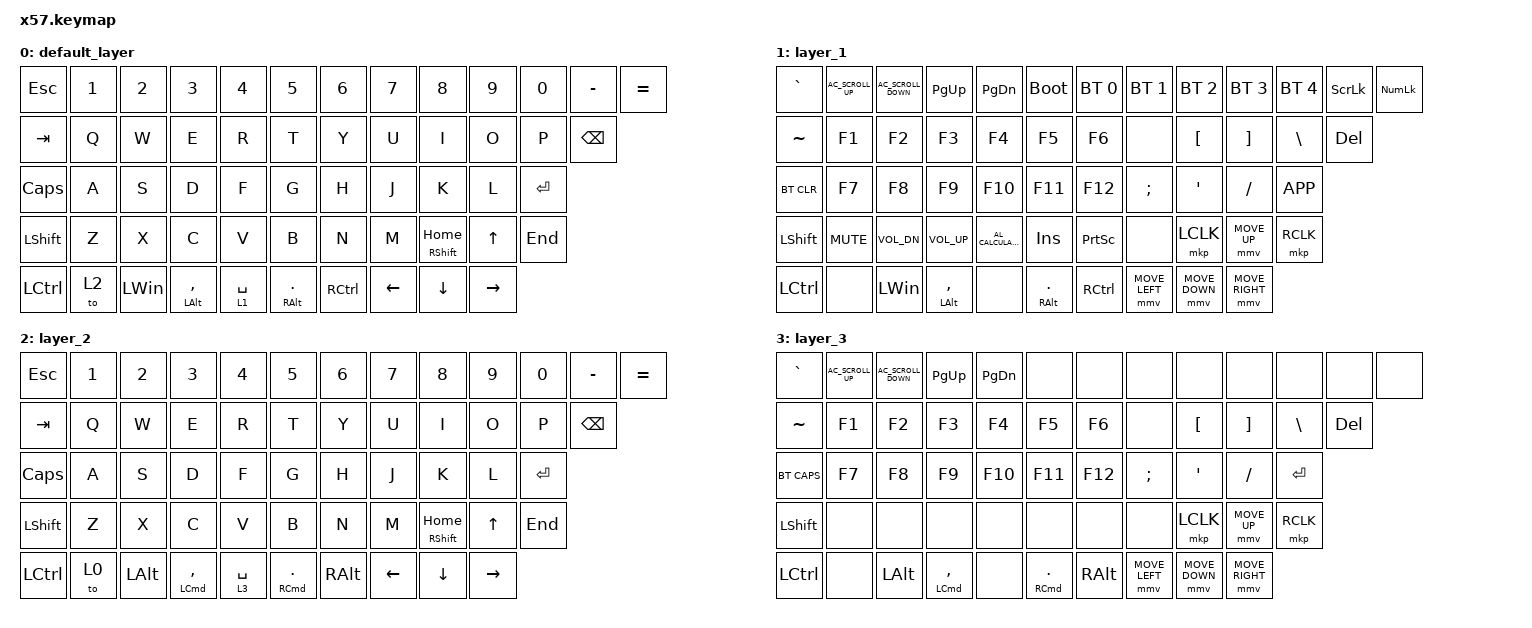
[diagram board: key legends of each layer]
#include <dt-bindings/zmk/mouse.h>
#include <behaviors.dtsi>
#include <dt-bindings/zmk/bt.h>
#include <dt-bindings/zmk/keys.h>
//#include <dt-bindings/zmk/rgb.h>
//#include <dt-bindings/zmk/outputs.h>
//#include <dt-bindings/zmk/ext_power.h>
#include <dt-bindings/zmk/pointing.h>

/ {
    keymap {
        compatible = "zmk,keymap";

        default_layer {
            bindings = <
                &kp ESC    &kp N1  &kp N2    &kp N3          &kp N4       &kp N5        &kp N6     &kp N7    &kp N8          &kp N9     &kp N0     &kp MINUS  &kp EQUAL
                &kp TAB    &kp Q   &kp W     &kp E           &kp R        &kp T         &kp Y      &kp U     &kp I           &kp O      &kp P      &kp BSPC
                &kp CAPS   &kp A   &kp S     &kp D           &kp F        &kp G         &kp H      &kp J     &kp K           &kp L      &kp ENTER
                &kp LSHFT  &kp Z   &kp X     &kp C           &kp V        &kp B         &kp N      &kp M     &mt RSHFT HOME  &kp UP     &kp END
                &kp LCTRL  &to 2   &kp LWIN  &mt LALT COMMA  &lt 1 SPACE  &mt RALT DOT  &kp RCTRL  &kp LEFT  &kp DOWN        &kp RIGHT
            >;
        };

        layer_1 {
            bindings = <
                &kp GRAVE   &kp C_AC_SCROLL_UP  &kp C_AC_SCROLL_DOWN  &kp PG_UP       &kp PG_DN            &bootloader   &bt BT_SEL 0  &bt BT_SEL 1    &bt BT_SEL 2    &bt BT_SEL 3     &bt BT_SEL 4  &kp SCROLLLOCK  &kp KP_NUMLOCK
                &kp TILDE   &kp F1              &kp F2                &kp F3          &kp F4               &kp F5        &kp F6        &none           &kp LBKT        &kp RBKT         &kp BSLH      &kp DEL
                &bt BT_CLR  &kp F7              &kp F8                &kp F9          &kp F10              &kp F11       &kp F12       &kp SEMI        &kp SQT         &kp SLASH        &kp K_APP
                &kp LSHFT   &kp C_MUTE          &kp C_VOL_DN          &kp C_VOL_UP    &kp C_AL_CALCULATOR  &kp INS       &kp PSCRN     &none           &mkp LCLK       &mmv MOVE_UP     &mkp RCLK
                &kp LCTRL   &none               &kp LWIN              &mt LALT COMMA  &none                &mt RALT DOT  &kp RCTRL     &mmv MOVE_LEFT  &mmv MOVE_DOWN  &mmv MOVE_RIGHT
            >;
        };

        layer_2 {
            bindings = <
                &kp ESC    &kp N1  &kp N2    &kp N3          &kp N4       &kp N5        &kp N6     &kp N7    &kp N8          &kp N9     &kp N0     &kp MINUS  &kp EQUAL
                &kp TAB    &kp Q   &kp W     &kp E           &kp R        &kp T         &kp Y      &kp U     &kp I           &kp O      &kp P      &kp BSPC
                &kp CAPS   &kp A   &kp S     &kp D           &kp F        &kp G         &kp H      &kp J     &kp K           &kp L      &kp ENTER
                &kp LSHFT  &kp Z   &kp X     &kp C           &kp V        &kp B         &kp N      &kp M     &mt RSHFT HOME  &kp UP     &kp END
                &kp LCTRL  &to 0   &kp LALT  &mt LCMD COMMA  &lt 3 SPACE  &mt RCMD DOT  &kp RALT   &kp LEFT  &kp DOWN        &kp RIGHT
            >;
        };

        layer_3 {
            bindings = <
                &kp GRAVE   &kp C_AC_SCROLL_UP  &kp C_AC_SCROLL_DOWN  &kp PG_UP       &kp PG_DN            &none         &none         &none           &none           &none            &none         &none    &none
                &kp TILDE   &kp F1              &kp F2                &kp F3          &kp F4               &kp F5        &kp F6        &none           &kp LBKT        &kp RBKT         &kp BSLH      &kp DEL
                &bt CAPS    &kp F7              &kp F8                &kp F9          &kp F10              &kp F11       &kp F12       &kp SEMI        &kp SQT         &kp SLASH        &kp ENTER
                &kp LSHFT   &none               &none                 &none           &none                &none         &none         &none           &mkp LCLK       &mmv MOVE_UP     &mkp RCLK
                &kp LCTRL   &none               &kp LEFT_ALT          &mt LCMD COMMA  &none                &mt RCMD DOT  &kp RALT      &mmv MOVE_LEFT  &mmv MOVE_DOWN  &mmv MOVE_RIGHT
            >;
        };
    };
};
